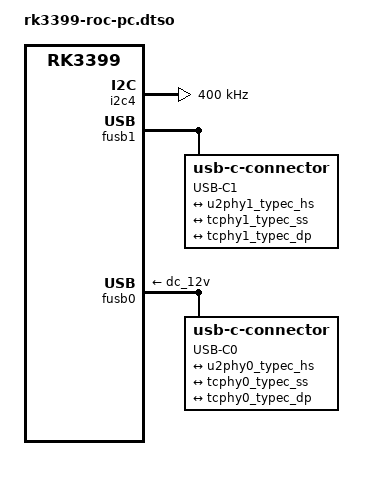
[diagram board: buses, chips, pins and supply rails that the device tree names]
// SPDX-License-Identifier: GPL-2.0 OR MIT
/dts-v1/;
/plugin/;

#include <dt-bindings/usb/pd.h>

/ {
    compatible = "firefly,roc-rk3399-pc", "rockchip,rk3399";
};

&cluster0_opp {
	opp006 {
		opp-hz = /bits/ 64 <1512000000>;
		opp-microvolt = <1200000>;
		opp-microvolt-L0 = <1200000>;
		opp-microvolt-L1 = <1175000>;
		opp-microvolt-L2 = <1150000>;
		opp-microvolt-L3 = <1125000>;
		clock-latency-ns = <40000>;
	};
};

&cluster1_opp {
	opp008 {
		opp-hz = /bits/ 64 <1992000000>;
		opp-microvolt = <1300000>;
		opp-microvolt-L0 = <1300000>;
		opp-microvolt-L1 = <1275000>;
		opp-microvolt-L2 = <1250000>;
		opp-microvolt-L3 = <1225000>;
		clock-latency-ns = <40000>;
	};
};

&i2c4 {
	clock-frequency = <400000>;
  i2c-scl-rising-time-ns = <345>;
	i2c-scl-falling-time-ns = <11>;
};

&fusb1 {
    connector {
        compatible = "usb-c-connector";
        data-role = "dual";
        label = "USB-C1";
        power-role = "source";
        source-pdos = <PDO_FIXED(5000, 2000, PDO_FIXED_USB_COMM)>;
        sink-pdos = <PDO_FIXED(5000, 2000, PDO_FIXED_USB_COMM)>;

        ports {
            #address-cells = <1>;
            #size-cells = <0>;

            port@0 {
                reg = <0>;

                usbc1_hs: endpoint {
                    remote-endpoint =
                        <&u2phy1_typec_hs>;
                };
            };

            port@1 {
                reg = <1>;

                usbc1_ss: endpoint {
                    remote-endpoint =
                        <&tcphy1_typec_ss>;
                };
            };
            port@2 {
                reg = <2>;

                usbc1_dp: endpoint {
                    remote-endpoint =
                        <&tcphy1_typec_dp>;
                };
            };
        };
    };
};


&fusb0 {
	vbus-supply = <&dc_12v>;
  connector {
			compatible = "usb-c-connector";
			data-role = "dual";
			label = "USB-C0";
			op-sink-microwatt = <1000000>;
			power-role = "sink";
			try-power-role = "sink";
			sink-pdos = <PDO_FIXED(5000, 3000, PDO_FIXED_USB_COMM)
				     PDO_VAR(5000, 20000, 5000)>;
			ports {
				#address-cells = <1>;
				#size-cells = <0>;

				port@0 {
					reg = <0>;

					usbc0_hs: endpoint {
						remote-endpoint =
							<&u2phy0_typec_hs>;
					};
				};

				port@1 {
					reg = <1>;

					usbc0_ss: endpoint {
						remote-endpoint =
							<&tcphy0_typec_ss>;
					};
				};
				port@2 {
					reg = <2>;

					usbc0_dp: endpoint {
						remote-endpoint =
							<&tcphy0_typec_dp>;
					};
				};
			};
		};
};

&tcphy0_dp {
	port {
		tcphy0_typec_dp: endpoint {
			remote-endpoint = <&usbc0_dp>;
		};
	};
};

&tcphy0_usb3 {
	port {
		tcphy0_typec_ss: endpoint {
			remote-endpoint = <&usbc0_ss>;
		};
	};
};

&tcphy1_dp {
	port {
		tcphy1_typec_dp: endpoint {
			remote-endpoint = <&usbc1_dp>;
		};
	};
};

&tcphy1_usb3 {
	port {
		tcphy1_typec_ss: endpoint {
			remote-endpoint = <&usbc1_ss>;
		};
	};
};

&u2phy0 {
	port {
		u2phy0_typec_hs: endpoint {
			remote-endpoint = <&usbc0_hs>;
		};
	};
};
&u2phy1 {
	port {
		u2phy1_typec_hs: endpoint {
			remote-endpoint = <&usbc1_hs>;
		};
	};
};
